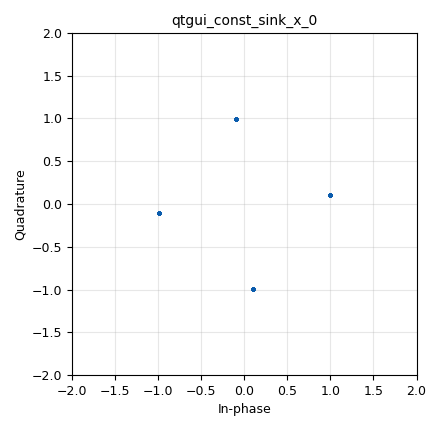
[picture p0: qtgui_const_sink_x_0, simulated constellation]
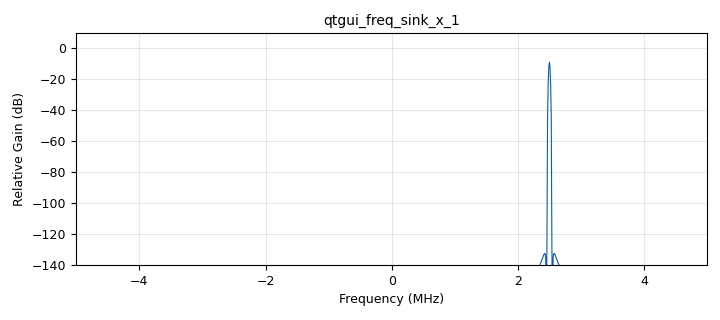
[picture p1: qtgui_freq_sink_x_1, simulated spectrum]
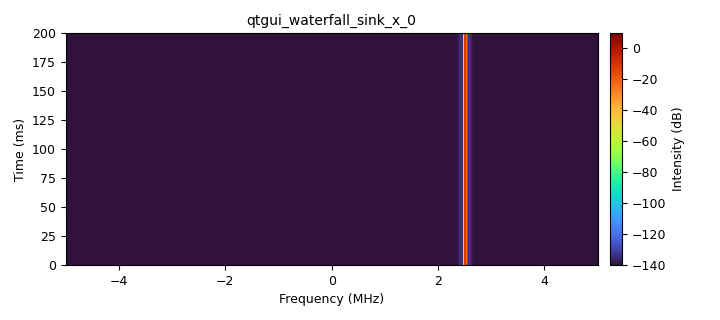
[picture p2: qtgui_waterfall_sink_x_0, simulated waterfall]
options:
  parameters:
    author: RT
    generate_options: qt_gui
    id: hello_gr_bladerf
    output_language: python
    title: hello gr-bladerf
  states: {}

blocks:
- name: bw
  id: variable
  parameters:
    value: samp_rate
  states: {}
- name: freq
  id: variable
  parameters:
    value: 900e6
  states: {}
- name: freq_sig
  id: variable_qtgui_range
  parameters:
    label: CW Frequency
    rangeType: int
    start: '0'
    step: int(100e3)
    stop: int(samp_rate/2)
    value: int(2.5e6)
  states: {}
- name: ref_clk
  id: variable
  parameters:
    value: 38.4e6
  states: {}
- name: rf_gain
  id: variable_qtgui_range
  parameters:
    label: RF Gain Sink
    rangeType: int
    start: '0'
    step: '1'
    stop: '60'
    value: '10'
  states: {}
- name: samp_rate
  id: variable
  parameters:
    value: 10e6
  states: {}
- name: analog_sig_source_x_0
  id: analog_sig_source_x
  parameters:
    amp: '1'
    freq: freq_sig
    offset: '0'
    phase: '0.1'
    samp_rate: samp_rate
    type: complex
    waveform: analog.GR_COS_WAVE
  states: {}
- name: bladeRF_sink_0
  id: bladeRF_sink
  parameters:
    bias_tee0: 'False'
    bias_tee1: 'False'
    bw: bw
    dac: '10000'
    dc_calibration: LPF_TUNING
    device_id: '0'
    fpga_image: /home/rthomp/code/fpga-images/hostedxA9-v0.15.0-8bit-mode/hostedxA9.rbf
    fpga_reload: 'True'
    freq: freq
    gain0: rf_gain
    gain1: '10'
    if_gain0: '20'
    if_gain1: '20'
    in_clk: ONBOARD
    lpf_mode: disabled
    metadata: 'False'
    nchan: '1'
    out_clk: 'False'
    ref_clk: ref_clk
    sample_format: 16bit
    sample_rate: samp_rate
    sampling: internal
    show_pmic: 'False'
    smb: '0'
    tamer: internal
    trigger0: 'False'
    trigger1: 'False'
    trigger_role0: master
    trigger_role1: master
    trigger_signal0: J51_1
    trigger_signal1: J51_1
    use_dac: 'False'
    verbosity: info
    xb200: none
  states: {}
- name: qtgui_const_sink_x_0
  id: qtgui_const_sink_x
  parameters:
    size: '1024'
    type: complex
  states: {}
- name: qtgui_freq_sink_x_1
  id: qtgui_freq_sink_x
  parameters:
    bw: samp_rate
    fc: '0'
    fftsize: '1024'
    type: complex
  states: {}
- name: qtgui_waterfall_sink_x_0
  id: qtgui_waterfall_sink_x
  parameters:
    bw: samp_rate
    fc: '0'
    fftsize: '1024'
    type: complex
  states: {}

connections:
- [analog_sig_source_x_0, '0', bladeRF_sink_0, '0']
- [analog_sig_source_x_0, '0', qtgui_const_sink_x_0, '0']
- [analog_sig_source_x_0, '0', qtgui_freq_sink_x_1, '0']
- [analog_sig_source_x_0, '0', qtgui_waterfall_sink_x_0, '0']

metadata:
  file_format: 1
